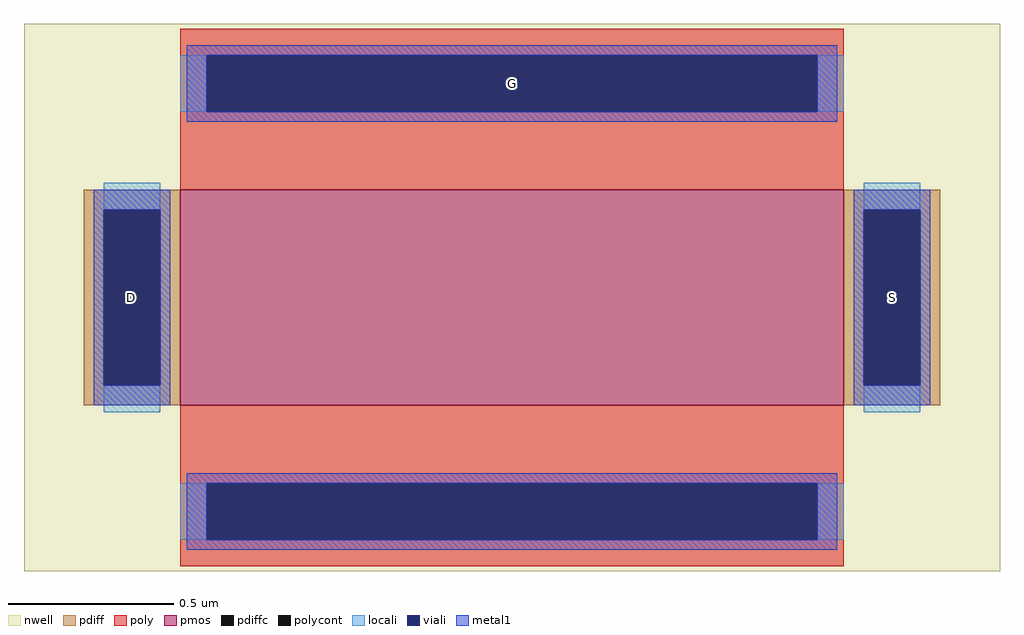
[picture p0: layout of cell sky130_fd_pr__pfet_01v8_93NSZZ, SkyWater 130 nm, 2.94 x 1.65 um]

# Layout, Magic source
magic
tech sky130A
magscale 1 2
<< nwell >>
rect -294 -165 294 165
<< pmos >>
rect -200 -65 200 65
<< pdiff >>
rect -258 53 -200 65
rect -258 -53 -246 53
rect -212 -53 -200 53
rect -258 -65 -200 -53
rect 200 53 258 65
rect 200 -53 212 53
rect 246 -53 258 53
rect 200 -65 258 -53
<< pdiffc >>
rect -246 -53 -212 53
rect 212 -53 246 53
<< poly >>
rect -200 146 200 162
rect -200 112 -184 146
rect 184 112 200 146
rect -200 65 200 112
rect -200 -112 200 -65
rect -200 -146 -184 -112
rect 184 -146 200 -112
rect -200 -162 200 -146
<< polycont >>
rect -184 112 184 146
rect -184 -146 184 -112
<< locali >>
rect -200 112 -184 146
rect 184 112 200 146
rect -246 53 -212 69
rect -246 -69 -212 -53
rect 212 53 246 69
rect 212 -69 246 -53
rect -200 -146 -184 -112
rect 184 -146 200 -112
<< viali >>
rect -184 112 184 146
rect -246 -53 -212 53
rect 212 -53 246 53
rect -184 -146 184 -112
<< metal1 >>
rect -196 146 196 152
rect -196 112 -184 146
rect 184 112 196 146
rect -196 106 196 112
rect -252 53 -206 65
rect -252 -53 -246 53
rect -212 -53 -206 53
rect -252 -65 -206 -53
rect 206 53 252 65
rect 206 -53 212 53
rect 246 -53 252 53
rect 206 -65 252 -53
rect -196 -112 196 -106
rect -196 -146 -184 -112
rect 184 -146 196 -112
rect -196 -152 196 -146
<< labels >>
rlabel pdiffc -229 0 -229 0 0 D
port 1 nsew
rlabel pdiffc 229 0 229 0 0 S
port 2 nsew
rlabel polycont 0 129 0 129 0 G
port 3 nsew
<< properties >>
string gencell sky130_fd_pr__pfet_01v8
string library sky130
string parameters w 0.65 l 2 m 1 nf 1 diffcov 100 polycov 100 guard 0 glc 0 grc 0 gtc 0 gbc 0 tbcov 100 rlcov 100 topc 1 botc 1 poverlap 0 doverlap 1 lmin 0.15 wmin 0.42 class mosfet compatible {sky130_fd_pr__pfet_01v8  sky130_fd_pr__pfet_01v8_lvt sky130_fd_pr__pfet_01v8_hvt  sky130_fd_pr__pfet_g5v0d10v5} full_metal 0 conn_gates 0 viasrc 100 viadrn 100 viagate 100 viagb 0 viagr 0 viagl 0 viagt 0 doports 1
<< end >>
